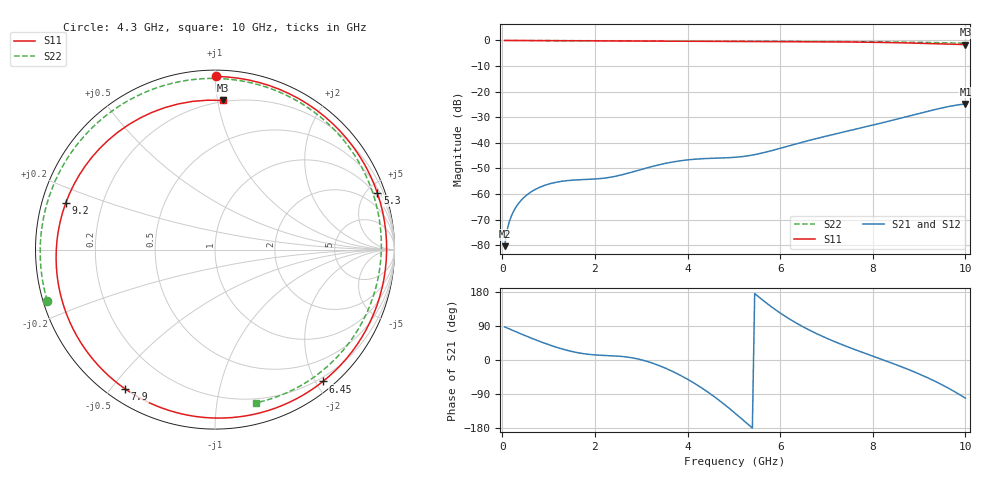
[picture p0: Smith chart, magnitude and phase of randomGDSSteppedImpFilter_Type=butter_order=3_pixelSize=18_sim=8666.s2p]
! freq	dB(S11)	phase(S11)	dB(S12)	phase(S12)
!  dB(S21)	phase(S21)	dB(S22)	phase(S22)
!S-par simulation data
#  GHz  S  DB  R 50
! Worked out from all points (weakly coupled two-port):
!   200 points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, 50 MHz to 10 GHz, reference 50 ohm
!   highest |S21| = -24.80 dB at 10 GHz (marker M1); lowest = -80.4 dB at 50 MHz (marker M2)
!   lowest |S11| = -1.6 dB at 10 GHz (marker M3), VSWR 10.92, Z = 9.57 + j51.7 ohm
!   |S11| at or under -10 dB: nowhere
!   |S22| runs from -1.1 to 0.0 dB; largest |S21 - S12| = 0
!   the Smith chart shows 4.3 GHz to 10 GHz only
!   S11 on the Smith chart (normalised r, x): 4.3 GHz: 0.04, +1.01; 5.3 GHz: 0.75, +5.79; 6.45 GHz: 0.14, -2.10; 7.9 GHz: 0.05, -0.54; 9.2 GHz: 0.07, +0.15; 10 GHz: 0.19, +1.03
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0.05  -0.00 -3.2  -80.36 87.4  -80.36 87.4  -0.00 -2.2
0.1  -0.01 -6.3  -74.35 84.7  -74.35 84.7  -0.00 -4.3
0.2  -0.02 -12.6  -68.39 79.5  -68.39 79.5  -0.01 -8.7
0.5  -0.04 -31.4  -60.81 64.0  -60.81 64.0  -0.03 -21.5
1.15  -0.09 -71.4  -55.44 34.4  -55.44 34.4  -0.06 -48.6
1.75  -0.13 -107.4  -54.35 16.8  -54.35 16.8  -0.09 -72.6
2.65  -0.19 -161.3  -52.17 8.5  -52.17 8.5  -0.12 -106.1
3.4  -0.24 151.4  -48.51 -15.4  -48.51 -15.4  -0.16 -132.4
3.9  -0.28 117.7  -46.87 -44.1  -46.87 -44.1  -0.18 -149.4
4.3  -0.31 89.6  -46.21 -73.2  -46.21 -73.2  -0.20 -163.0
4.65  -0.34 64.6  -45.96 -103.4  -45.96 -103.4  -0.22 -175.0
5.05  -0.36 36.4  -45.60 -142.9  -45.60 -142.9  -0.25 171.0
5.3  -0.37 19.3  -45.07 -169.1  -45.07 -169.1  -0.26 162.0
5.8  -0.40 -13.0  -43.12 141.4  -43.12 141.4  -0.30 143.3
6.45  -0.45 -50.7  -39.89 90.5  -39.89 90.5  -0.36 116.9
6.7  -0.48 -64.0  -38.71 74.7  -38.71 74.7  -0.38 106.0
7.3  -0.56 -94.0  -36.06 42.3  -36.06 42.3  -0.44 77.6
7.9  -0.69 -122.9  -33.51 14.6  -33.51 14.6  -0.51 46.2
8.35  -0.82 -145.5  -31.52 -5.4  -31.52 -5.4  -0.59 20.9
9.2  -1.20 162.8  -27.62 -47.7  -27.62 -47.7  -0.79 -28.7
9.6  -1.42 129.5  -25.96 -72.2  -25.96 -72.2  -0.92 -52.0
10  -1.60 87.0  -24.80 -100.8  -24.80 -100.8  -1.07 -74.9
